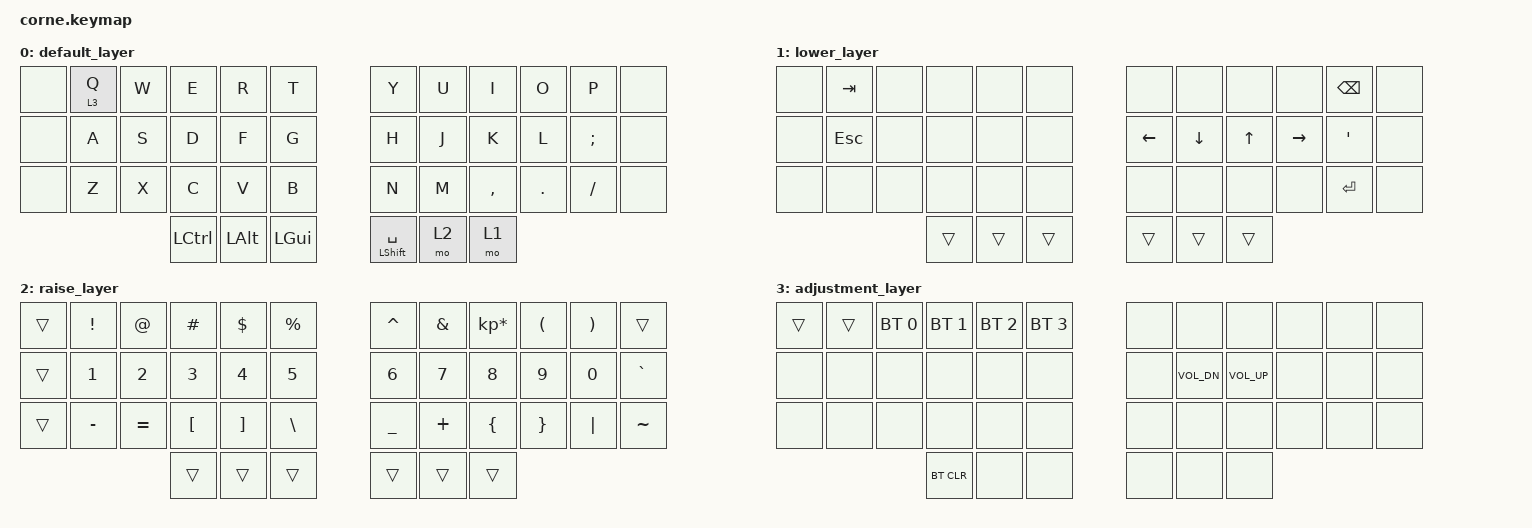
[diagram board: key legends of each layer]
/*
 * Copyright (c) 2020 The ZMK Contributors
 *
 * SPDX-License-Identifier: MIT
 */

#include <behaviors.dtsi>
#include <dt-bindings/zmk/keys.h>
#include <dt-bindings/zmk/bt.h>

&mt {
    tapping-term-ms = <200>;
    flavor = "tap-preferred";
};

/ {

        combos {
                compatible = "zmk,combos";

                combo_esc {
                timeout-ms = <50>;
                key-positions = <1 2>;
                bindings = <&kp ESCAPE>;
                };

                combo_bksp {
                timeout-ms = <50>;
                key-positions = <10 9>;
                bindings = <&kp BACKSPACE>;
                };

                combo_tab {
                bindings = <&kp TAB>;
                key-positions = <13 14>;
                };

                combo_shift {
                bindings = <&kp LEFT_SHIFT>;
                key-positions = <25 26>;
                };

                combo_delete {
                bindings = <&kp SQT>;
                key-positions = <21 22>;
                };

                combo_ret {
                bindings = <&kp RET>;
                key-positions = <33 34>;
                };

        };

        keymap {
                compatible = "zmk,keymap";

                default_layer {
                        bindings = <
   &none    &lt 3 Q &kp W &kp E       &kp R         &kp T           &kp Y             &kp U       &kp I        &kp O   &kp P    &none
   &none    &kp A   &kp S &kp D       &kp F         &kp G           &kp H             &kp J       &kp K        &kp L   &kp SEMI &none
   &none    &kp Z   &kp X &kp C       &kp V         &kp B           &kp N             &kp M       &kp COMMA    &kp DOT &kp FSLH &none
                          &kp LCTRL   &kp LALT      &kp LGUI        &mt LSHIFT SPACE  &mo 2       &mo 1
                        >;
                };
                
                lower_layer {
                        bindings = <
   &none        &kp TAB   &none    &none    &none         &none       &none    &none    &none    &none     &kp BSPC   &none
   &none        &kp ESC   &none    &none    &none         &none       &kp LEFT &kp DOWN &kp UP   &kp RIGHT &kp SQT    &none
   &none        &none     &none    &none    &none         &none       &none    &none    &none    &none     &kp RET    &none
                                   &trans   &trans        &trans      &trans   &trans   &trans
                        >;
                };

                raise_layer {
// -----------------------------------------------------------------------------------------
// |  TAB |  !  |  @  |  #  |  $  |  %  |   |  ^  |  &  |  *  |  (  |  )  | BKSP |
// | CTRL |  1  |  2  |  3  |  4  |  5  |   |  6  |  7  |  8  |  9  |  0  |  `   |
// | SHFT |  -  |  =  |  [  |  ]  |  \  |   |  _  |  +  |  {  |  }  | "|" |  ~   |
//                    | GUI |     | SPC |   | ENT |     | ALT |
                        bindings = <
   &trans  &kp EXCL  &kp AT    &kp HASH   &kp DLLR   &kp PRCNT   &kp CARET &kp AMPS  &kp KP_MULTIPLY &kp LPAR  &kp RPAR &trans
   &trans  &kp N1    &kp N2    &kp N3     &kp N4     &kp N5      &kp N6    &kp N7    &kp N8          &kp N9    &kp N0   &kp GRAVE
   &trans  &kp MINUS &kp EQUAL &kp LBKT   &kp RBKT   &kp BSLH    &kp UNDER &kp PLUS  &kp LBRC        &kp RBRC  &kp PIPE &kp TILDE
                    	       &trans     &trans     &trans      &trans    &trans    &trans
                        >;
                };

                adjustment_layer {
                        bindings = <
   &trans       &trans          &bt BT_SEL 0    &bt BT_SEL 1    &bt BT_SEL 2    &bt BT_SEL 3       &none    &none          &none              &none     &none &none
   &none        &none           &none           &none           &none           &none              &none    &kp C_VOL_DN   &kp C_VOL_UP       &none     &none &none
   &none        &none           &none           &none           &none           &none              &none    &none          &none              &none     &none &none
                                &bt BT_CLR      &none           &none                              &none    &none          &none
                        >;
                };
        };     
};
